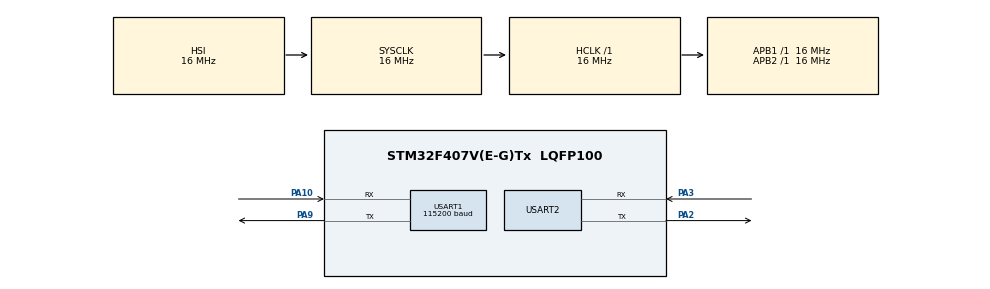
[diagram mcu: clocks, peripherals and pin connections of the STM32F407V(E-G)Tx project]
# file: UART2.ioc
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Mcu.Family=STM32F4
Mcu.Name=STM32F407V(E-G)Tx
Mcu.Package=LQFP100
NVIC.PriorityGroup=NVIC_PRIORITYGROUP_4
NVIC.USART1_IRQn=true\:0\:0\:false\:false\:true\:true\:true
NVIC.USART2_IRQn=true\:0\:0\:false\:false\:true\:true\:true
PA10.Mode=Asynchronous
PA10.Signal=USART1_RX
PA2.Mode=Asynchronous
PA2.Signal=USART2_TX
PA3.Mode=Asynchronous
PA3.Signal=USART2_RX
PA9.Mode=Asynchronous
PA9.Signal=USART1_TX
ProjectManager.HeapSize=0x200
ProjectManager.StackSize=0x400
ProjectManager.TargetToolchain=STM32CubeIDE
RCC.AHBFreq_Value=16000000
RCC.APB1Freq_Value=16000000
RCC.APB2Freq_Value=16000000
RCC.CortexFreq_Value=16000000
RCC.HSE_VALUE=25000000
RCC.HSI_VALUE=16000000
RCC.LSE_VALUE=32768
RCC.SYSCLKFreq_VALUE=16000000
RCC.VCOOutputFreq_Value=192000000
USART1.BaudRate=115200
USART1.VirtualMode=VM_ASYNC
USART2.VirtualMode=VM_ASYNC
VP_RTC_VS_RTC_Activate.Mode=RTC_Enabled
VP_RTC_VS_RTC_Calendar.Mode=RTC_Calendar
board=custom

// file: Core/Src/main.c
/* USER CODE BEGIN Header */
/**
  ******************************************************************************
  * @file           : main.c
  * @brief          : Main program body
  ******************************************************************************
  * @attention
  *
  * <h2><center>&copy; Copyright (c) 2023 STMicroelectronics.
  * All rights reserved.</center></h2>
  *
  * This software component is licensed by ST under BSD 3-Clause license,
  * the "License"; You may not use this file except in compliance with the
  * License. You may obtain a copy of the License at:
  *                        opensource.org/licenses/BSD-3-Clause
  *
  ******************************************************************************
  */
/* USER CODE END Header */
#include "main.h"

/* USER CODE BEGIN Includes */
#include "stm32f4xx.h"
#include <time.h>
/* USER CODE END Includes */

/* USER CODE BEGIN PD */

//Register Definitions for LIS302DL
#define LIS302DL_ADDR     (0x3B)
#define WHO_AM_I          (0x0F)
#define CTRL_REG1         (0x20)
#define CTRL_REG2         (0x21)
#define CTRL_REG3         (0x22)
#define HP_FILTER_RESET   (0x23)
#define STATUS_REG        (0x27)
#define OUT_X             (0x29)
#define OUT_Y             (0x2B)
#define OUT_Z             (0x2D)

// Calibration constants
#define X_OFFSET 18
#define THRESH_LOW -120
#define THRESH_HIGH 120
/* USER CODE END PD */

RTC_HandleTypeDef hrtc;

UART_HandleTypeDef huart1;
UART_HandleTypeDef huart2;

/* USER CODE BEGIN PV */
char trans_str[64] = {0,};

uint16_t x,y,z;
int16_t x_final, y_final, z_final;
uint16_t rxd,rxdf;
/* USER CODE END PV */

void SystemClock_Config(void);
static void MX_GPIO_Init(void);
static void MX_USART1_UART_Init(void);
static void MX_USART2_UART_Init(void);
static void MX_RTC_Init(void);
/* USER CODE BEGIN PFP */
void RCC_Init(void);
void GPIO_Init(void);
void SPI_Init(void);
uint16_t SPI_Transmit(uint8_t data);
uint16_t SPI_Receive(uint8_t addr);
void LIS_Init(void);
void LIS_Write(uint8_t addr, uint8_t data);
void LIS_Read(void);
int16_t Convert_To_Val(uint16_t val);
void TIM4_ms_Delay(uint16_t delay);
/* USER CODE END PFP */

int main(void)
{
  /* USER CODE BEGIN 1 */
  uint8_t str[]="USART Transmit\r\n";
  /* USER CODE END 1 */

  /* MCU Configuration--------------------------------------------------------*/

  /* Reset of all peripherals, Initializes the Flash interface and the Systick. */
  HAL_Init();

  /* USER CODE BEGIN Init */
  GPIO_Init();
  SPI_Init();
  LIS_Init();
  GPIOE->BSRR |= GPIO_BSRR_BS3;
  /* USER CODE END Init */

  /* Configure the system clock */
  SystemClock_Config();

  /* Initialize all configured peripherals */
  MX_GPIO_Init();
  MX_USART1_UART_Init();
  MX_USART2_UART_Init();
  MX_RTC_Init();

  /* Infinite loop */
  /* USER CODE BEGIN WHILE */
  while (1)
  {
	  // Call the read function
	  LIS_Read();
	  // Use the Convert_To_Val function to convert raw data into actual data
	  x_final = Convert_To_Val(x) + X_OFFSET;
	  y_final = Convert_To_Val(y);

	  snprintf(trans_str, 63, "{\"x\":%d,\"y\":%d,\"z\":%d}", x_final, y_final, z);
	  HAL_UART_Transmit(&huart2, (uint8_t*)trans_str, strlen(trans_str), 1000);

	  HAL_Delay(1000);
    /* USER CODE END WHILE */

  }
}

void SystemClock_Config(void)
{
  RCC_OscInitTypeDef RCC_OscInitStruct = {0};
  RCC_ClkInitTypeDef RCC_ClkInitStruct = {0};

  /** Configure the main internal regulator output voltage
  */
  __HAL_RCC_PWR_CLK_ENABLE();
  __HAL_PWR_VOLTAGESCALING_CONFIG(PWR_REGULATOR_VOLTAGE_SCALE1);
  /** Initializes the RCC Oscillators according to the specified parameters
  * in the RCC_OscInitTypeDef structure.
  */
  RCC_OscInitStruct.OscillatorType = RCC_OSCILLATORTYPE_HSI|RCC_OSCILLATORTYPE_LSI;
  RCC_OscInitStruct.HSIState = RCC_HSI_ON;
  RCC_OscInitStruct.HSICalibrationValue = RCC_HSICALIBRATION_DEFAULT;
  RCC_OscInitStruct.LSIState = RCC_LSI_ON;
  RCC_OscInitStruct.PLL.PLLState = RCC_PLL_NONE;
  if (HAL_RCC_OscConfig(&RCC_OscInitStruct) != HAL_OK)
  {
    Error_Handler();
  }
  /** Initializes the CPU, AHB and APB buses clocks
  */
  RCC_ClkInitStruct.ClockType = RCC_CLOCKTYPE_HCLK|RCC_CLOCKTYPE_SYSCLK
                              |RCC_CLOCKTYPE_PCLK1|RCC_CLOCKTYPE_PCLK2;
  RCC_ClkInitStruct.SYSCLKSource = RCC_SYSCLKSOURCE_HSI;
  RCC_ClkInitStruct.AHBCLKDivider = RCC_SYSCLK_DIV1;
  RCC_ClkInitStruct.APB1CLKDivider = RCC_HCLK_DIV1;
  RCC_ClkInitStruct.APB2CLKDivider = RCC_HCLK_DIV1;

  if (HAL_RCC_ClockConfig(&RCC_ClkInitStruct, FLASH_LATENCY_0) != HAL_OK)
  {
    Error_Handler();
  }
}

static void MX_RTC_Init(void)
{

  RTC_TimeTypeDef sTime = {0};
  RTC_DateTypeDef sDate = {0};

  /** Initialize RTC Only
  */
  hrtc.Instance = RTC;
  hrtc.Init.HourFormat = RTC_HOURFORMAT_24;
  hrtc.Init.AsynchPrediv = 127;
  hrtc.Init.SynchPrediv = 255;
  hrtc.Init.OutPut = RTC_OUTPUT_DISABLE;
  hrtc.Init.OutPutPolarity = RTC_OUTPUT_POLARITY_HIGH;
  hrtc.Init.OutPutType = RTC_OUTPUT_TYPE_OPENDRAIN;
  if (HAL_RTC_Init(&hrtc) != HAL_OK)
  {
    Error_Handler();
  }

  /** Initialize RTC and set the Time and Date
  */
  sTime.Hours = 0x0;
  sTime.Minutes = 0x0;
  sTime.Seconds = 0x0;
  sTime.DayLightSaving = RTC_DAYLIGHTSAVING_NONE;
  sTime.StoreOperation = RTC_STOREOPERATION_RESET;
  if (HAL_RTC_SetTime(&hrtc, &sTime, RTC_FORMAT_BCD) != HAL_OK)
  {
    Error_Handler();
  }
  sDate.WeekDay = RTC_WEEKDAY_MONDAY;
  sDate.Month = RTC_MONTH_JANUARY;
  sDate.Date = 0x1;
  sDate.Year = 0x0;

  if (HAL_RTC_SetDate(&hrtc, &sDate, RTC_FORMAT_BCD) != HAL_OK)
  {
    Error_Handler();
  }

}

static void MX_USART1_UART_Init(void)
{

  huart1.Instance = USART1;
  huart1.Init.BaudRate = 115200;
  huart1.Init.WordLength = UART_WORDLENGTH_8B;
  huart1.Init.StopBits = UART_STOPBITS_1;
  huart1.Init.Parity = UART_PARITY_NONE;
  huart1.Init.Mode = UART_MODE_TX_RX;
  huart1.Init.HwFlowCtl = UART_HWCONTROL_NONE;
  huart1.Init.OverSampling = UART_OVERSAMPLING_16;
  if (HAL_UART_Init(&huart1) != HAL_OK)
  {
    Error_Handler();
  }

}

static void MX_USART2_UART_Init(void)
{

  huart2.Instance = USART2;
  huart2.Init.BaudRate = 115200;
  huart2.Init.WordLength = UART_WORDLENGTH_8B;
  huart2.Init.StopBits = UART_STOPBITS_1;
  huart2.Init.Parity = UART_PARITY_NONE;
  huart2.Init.Mode = UART_MODE_TX_RX;
  huart2.Init.HwFlowCtl = UART_HWCONTROL_NONE;
  huart2.Init.OverSampling = UART_OVERSAMPLING_16;
  if (HAL_UART_Init(&huart2) != HAL_OK)
  {
    Error_Handler();
  }

}

static void MX_GPIO_Init(void)
{

  /* GPIO Ports Clock Enable */
  __HAL_RCC_GPIOA_CLK_ENABLE();

}

/* USER CODE BEGIN 4 */
void GPIO_Init(){
    // Enable GPIOA clock
    RCC->AHB1ENR |= RCC_AHB1ENR_GPIOAEN;

    // Configuring PA5, PA6, PA7 in alternate function mode
    GPIOA->MODER |= (GPIO_MODER_MODER5_1 | GPIO_MODER_MODER6_1 | GPIO_MODER_MODER7_1);

    // Select AF5 for SPI on PA5, PA6, PA7
    GPIOA->AFR[0] |= (GPIO_AFRL_AFSEL5_2 | GPIO_AFRL_AFSEL5_0
                     | GPIO_AFRL_AFSEL6_2 | GPIO_AFRL_AFSEL6_0
                     | GPIO_AFRL_AFSEL7_2 | GPIO_AFRL_AFSEL7_0);

    // Enable GPIOE clock
    RCC->AHB1ENR |= RCC_AHB1ENR_GPIOEEN;

    // Since PE3 is CS, it needs to be configured in Output Mode
    GPIOE->MODER |= GPIO_MODER_MODER3_0;

    GPIOA->OSPEEDR |= ( GPIO_OSPEEDER_OSPEEDR5_0 | GPIO_OSPEEDER_OSPEEDR6_0 |
                        GPIO_OSPEEDER_OSPEEDR7_0);

    GPIOA->PUPDR |= (GPIO_PUPDR_PUPD5_1 | GPIO_PUPDR_PUPD6_1 | GPIO_PUPDR_PUPD7_1);

    // Enable clock for GPIOD and Configure PD12 in output mode
    RCC->AHB1ENR |= RCC_AHB1ENR_GPIODEN;
    GPIOD->MODER |= (GPIO_MODER_MODER12_0 | GPIO_MODER_MODER13_0 | GPIO_MODER_MODER14_0 | GPIO_MODER_MODER15_0);
}

void SPI_Init(){
    // Enable SPI clock
    RCC->APB2ENR |= RCC_APB2ENR_SPI1EN;

    // Select the Master Configuration
    SPI1->CR1 |= SPI_CR1_MSTR;

    SPI1->CR1 &= ~SPI_CR1_BIDIMODE;

    SPI1->CR1 &= ~SPI_CR1_RXONLY;

    // Set the Data Frame Format (DFF) to '0' or 8-bit.
    SPI1->CR1 &= ~SPI_CR1_DFF;

    // SSI and SSM bits in the SP1->CR1 register need to be set
    // to '1'
    SPI1->CR1 |= (SPI_CR1_SSI | SPI_CR1_SSM);

    // Setting Baud Rate
    SPI1->CR1 &= ~SPI_CR1_BR;

    // Set the transmission to MSB First Mode
    SPI1->CR1 &= ~SPI_CR1_LSBFIRST;

    // Configure CPOL and CPHASE to '0' and '0', respectively.
    // i.e. Clock is at '0' when idle, and data capture is done
    // on the first clock transition which is the rising edge.
    SPI1->CR1 &= ~SPI_CR1_CPHA;
    SPI1->CR1 &= ~SPI_CR1_CPOL;

    // Enable CRC
    SPI1->CR1 |= SPI_CR1_CRCEN;

    // Enable SPI
    SPI1->CR1 |= SPI_CR1_SPE;

    // Selecting Motorola Format
    SPI1->CR2 = 0x0000;
}

uint16_t SPI_Transmit(uint8_t data){
    while(!((SPI1->SR) & SPI_SR_TXE)){}
    SPI1->DR = data;

    while(!(SPI1->SR & SPI_SR_RXNE)){}
    rxd = SPI1->DR;

    return rxd;
}

uint16_t SPI_Receive(uint8_t addr){
    GPIOE->BSRR |= GPIO_BSRR_BR3;
    addr |= 0x80;
    SPI_Transmit(addr);
    rxdf = SPI_Transmit(0);
    GPIOE->BSRR |= GPIO_BSRR_BS3;
    return rxdf;
}

void LIS_Write(uint8_t addr,uint8_t data){
    // Selecting the LIS accelerometer
    GPIOE->BSRR |= GPIO_BSRR_BR3;

    // Send the Register Address
    SPI_Transmit(addr);

    // Send the data to be written
    SPI_Transmit(data);

    // De-select the accelerometer
    GPIOE->BSRR |= GPIO_BSRR_BS3;
}

void LIS_Init(){
    // Powering on the accelerometer and Enabling the x,y and z axis for acceleration capture
    LIS_Write(CTRL_REG1, 0x47);
}

void LIS_Read(){
    // Reading the data for x-axis
    x = SPI_Receive(OUT_X);

    // Reading the data for y-axis
    y = SPI_Receive(OUT_Y);

    // Reading the data for z-axis
    z = SPI_Receive(OUT_Z);
}

void TIM4_ms_Delay(uint16_t delay){
    RCC->APB1ENR |= RCC_APB1ENR_TIM4EN; //Enable the clock for TIM3
    TIM4->PSC = 16000-1; //Set the clock frequency to 1KHz
    TIM4->ARR = delay; // Get the required delay from user
    TIM4->CNT = 0;
    TIM4->CR1 |= 1; // Start the timer
    while(!(TIM4->SR & 1)){} // Wait for the "Update Interrupt Flag"
    TIM4->SR &= ~(0x0001); // Clear the "Update Interrupt Flag"
}

int16_t Convert_To_Val(uint16_t val){
    if ((val & 0x80) == 0x80){
        val = ~val;
        val += 1;
        val &= 0x00FF;
        val = ( val * 2300 ) / 127;
        return (-1 * val);
    }
    else
        return (( val * 2300 ) / 127);
}
/* USER CODE END 4 */

void Error_Handler(void)
{
  __disable_irq();
  while (1)
  {
  }
}

/************************ (C) COPYRIGHT STMicroelectronics *****END OF FILE****/
